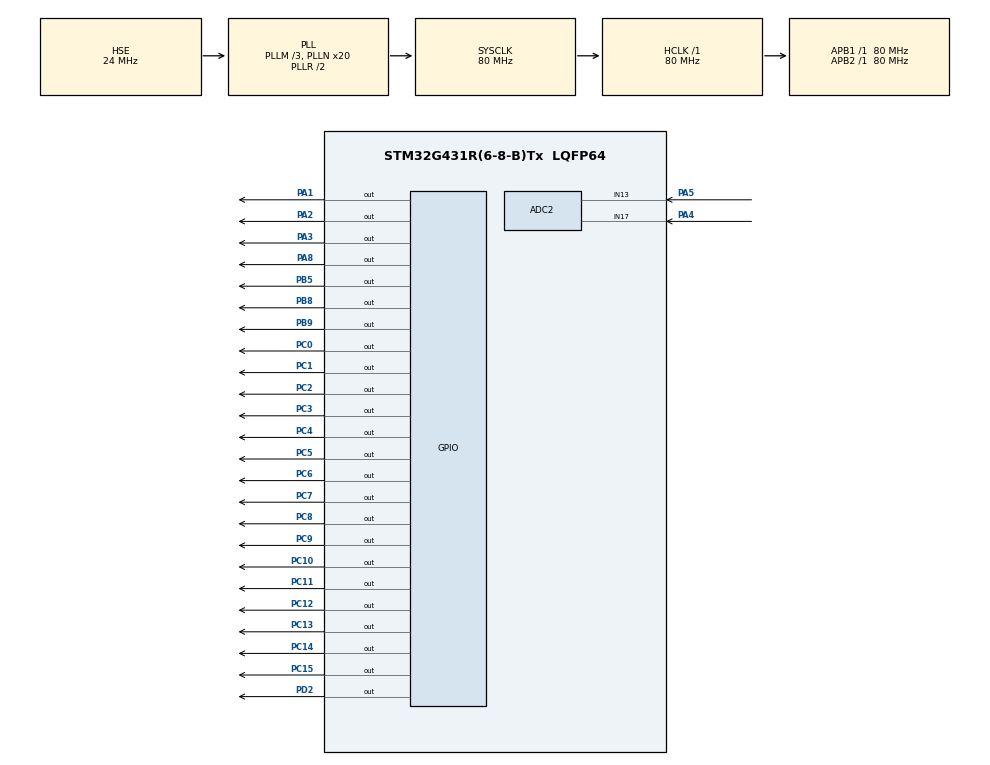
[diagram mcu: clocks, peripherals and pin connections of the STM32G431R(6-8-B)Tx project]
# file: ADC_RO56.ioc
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ADC2.Channel-1\#ChannelRegularConversion=ADC_CHANNEL_17
ADC2.Channel-2\#ChannelRegularConversion=ADC_CHANNEL_13
ADC2.NbrOfConversion=2
ADC2.NbrOfConversionFlag=1
ADC2.OffsetNumber-1\#ChannelRegularConversion=ADC_OFFSET_NONE
ADC2.OffsetNumber-2\#ChannelRegularConversion=ADC_OFFSET_NONE
ADC2.Rank-1\#ChannelRegularConversion=1
ADC2.Rank-2\#ChannelRegularConversion=2
ADC2.SamplingTime-1\#ChannelRegularConversion=ADC_SAMPLETIME_640CYCLES_5
ADC2.SamplingTime-2\#ChannelRegularConversion=ADC_SAMPLETIME_640CYCLES_5
Mcu.Family=STM32G4
Mcu.Name=STM32G431R(6-8-B)Tx
Mcu.Package=LQFP64
NVIC.PriorityGroup=NVIC_PRIORITYGROUP_4
PA1.Signal=GPIO_Output
PA13.Mode=Serial_Wire
PA13.Signal=SYS_JTMS-SWDIO
PA14.Mode=Serial_Wire
PA14.Signal=SYS_JTCK-SWCLK
PA2.Signal=GPIO_Output
PA3.Signal=GPIO_Output
PA4.Mode=IN17-Single-Ended
PA4.Signal=ADC2_IN17
PA5.Mode=IN13-Single-Ended
PA5.Signal=ADC2_IN13
PA8.Signal=GPIO_Output
PB5.Signal=GPIO_Output
PB8-BOOT0.Signal=GPIO_Output
PB9.Signal=GPIO_Output
PC0.Signal=GPIO_Output
PC1.Signal=GPIO_Output
PC10.PinState=GPIO_PIN_SET
PC10.Signal=GPIO_Output
PC11.PinState=GPIO_PIN_SET
PC11.Signal=GPIO_Output
PC12.PinState=GPIO_PIN_SET
PC12.Signal=GPIO_Output
PC13.PinState=GPIO_PIN_SET
PC13.Signal=GPIO_Output
PC14-OSC32_IN.PinState=GPIO_PIN_SET
PC14-OSC32_IN.Signal=GPIO_Output
PC15-OSC32_OUT.PinState=GPIO_PIN_SET
PC15-OSC32_OUT.Signal=GPIO_Output
PC2.Signal=GPIO_Output
PC3.Signal=GPIO_Output
PC4.Signal=GPIO_Output
PC5.Signal=GPIO_Output
PC6.Signal=GPIO_Output
PC7.Signal=GPIO_Output
PC8.PinState=GPIO_PIN_SET
PC8.Signal=GPIO_Output
PC9.PinState=GPIO_PIN_SET
PC9.Signal=GPIO_Output
PD2.Signal=GPIO_Output
PF0-OSC_IN.Mode=HSE-External-Oscillator
PF0-OSC_IN.Signal=RCC_OSC_IN
PF1-OSC_OUT.Mode=HSE-External-Oscillator
PF1-OSC_OUT.Signal=RCC_OSC_OUT
ProjectManager.HeapSize=0x200
ProjectManager.StackSize=0x400
ProjectManager.TargetToolchain=MDK-ARM V5.32
RCC.ADC12Freq_Value=80000000
RCC.AHBFreq_Value=80000000
RCC.APB1Freq_Value=80000000
RCC.APB1TimFreq_Value=80000000
RCC.APB2Freq_Value=80000000
RCC.APB2TimFreq_Value=80000000
RCC.CortexFreq_Value=80000000
RCC.EXTERNAL_CLOCK_VALUE=12288000
RCC.HCLKFreq_Value=80000000
RCC.HSE_VALUE=24000000
RCC.HSI48_VALUE=48000000
RCC.HSI_VALUE=16000000
RCC.LSE_VALUE=32768
RCC.PLLM=RCC_PLLM_DIV3
RCC.PLLN=20
RCC.PLLSourceVirtual=RCC_PLLSOURCE_HSE
RCC.SYSCLKFreq_VALUE=80000000
RCC.SYSCLKSource=RCC_SYSCLKSOURCE_PLLCLK
RCC.USBFreq_Value=80000000
RCC.VCOOutputFreq_Value=160000000
VP_SYS_VS_DBSignals.Mode=DisableDeadBatterySignals
board=custom

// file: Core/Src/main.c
/* USER CODE BEGIN Header */
/**
  ******************************************************************************
  * @file           : main.c
  * @brief          : Main program body
  ******************************************************************************
  * @attention
  *
  * Copyright (c) 2024 STMicroelectronics.
  * All rights reserved.
  *
  * This software is licensed under terms that can be found in the LICENSE file
  * in the root directory of this software component.
  * If no LICENSE file comes with this software, it is provided AS-IS.
  *
  ******************************************************************************
  */
/* USER CODE END Header */
#include "main.h"
#include "adc.h"
#include "gpio.h"

/* USER CODE BEGIN Includes */

#include "lcd.h"
#include "seg.h"
#include "led.h"
#include "myadc.h"
#include "stdio.h"
#include "String.h"

/* USER CODE END Includes */

/* USER CODE BEGIN PTD */
__IO uint32_t uwTick_Seg;
__IO uint32_t uwTick_Lcd;
__IO uint32_t uwTick_Adc;

double RP5_AO1=0;
double RP6_AO2=0;

//Lcd要显示的数据
unsigned char lcd_text[30];

unsigned int seg_count;

/* USER CODE END PTD */

void SystemClock_Config(void);
/* USER CODE BEGIN PFP */
void seg_proc(void);
void adc_proc(void);
void lcd_proc(void);

/* USER CODE END PFP */

/* USER CODE BEGIN 0 */

//扩展板中两路ADC采集

/* USER CODE END 0 */

int main(void)
{

  /* MCU Configuration--------------------------------------------------------*/

  /* Reset of all peripherals, Initializes the Flash interface and the Systick. */
  HAL_Init();

  /* Configure the system clock */
  SystemClock_Config();

  /* Initialize all configured peripherals */
  MX_GPIO_Init();
  MX_ADC2_Init();
  /* USER CODE BEGIN 2 */

    led_disp(0x00);

    LCD_Init();
    LCD_Clear(Black);
    LCD_SetBackColor(Black);
    LCD_SetTextColor(White);

  /* USER CODE END 2 */

  /* Infinite loop */
  while (1)
  {

    /* USER CODE BEGIN 3 */
      seg_proc();
      adc_proc();
      lcd_proc();
  }
  /* USER CODE END 3 */
}

void SystemClock_Config(void)
{
  RCC_OscInitTypeDef RCC_OscInitStruct = {0};
  RCC_ClkInitTypeDef RCC_ClkInitStruct = {0};

  /** Configure the main internal regulator output voltage
  */
  HAL_PWREx_ControlVoltageScaling(PWR_REGULATOR_VOLTAGE_SCALE1);

  /** Initializes the RCC Oscillators according to the specified parameters
  * in the RCC_OscInitTypeDef structure.
  */
  RCC_OscInitStruct.OscillatorType = RCC_OSCILLATORTYPE_HSE;
  RCC_OscInitStruct.HSEState = RCC_HSE_ON;
  RCC_OscInitStruct.PLL.PLLState = RCC_PLL_ON;
  RCC_OscInitStruct.PLL.PLLSource = RCC_PLLSOURCE_HSE;
  RCC_OscInitStruct.PLL.PLLM = RCC_PLLM_DIV3;
  RCC_OscInitStruct.PLL.PLLN = 20;
  RCC_OscInitStruct.PLL.PLLP = RCC_PLLP_DIV2;
  RCC_OscInitStruct.PLL.PLLQ = RCC_PLLQ_DIV2;
  RCC_OscInitStruct.PLL.PLLR = RCC_PLLR_DIV2;
  if (HAL_RCC_OscConfig(&RCC_OscInitStruct) != HAL_OK)
  {
    Error_Handler();
  }

  /** Initializes the CPU, AHB and APB buses clocks
  */
  RCC_ClkInitStruct.ClockType = RCC_CLOCKTYPE_HCLK|RCC_CLOCKTYPE_SYSCLK
                              |RCC_CLOCKTYPE_PCLK1|RCC_CLOCKTYPE_PCLK2;
  RCC_ClkInitStruct.SYSCLKSource = RCC_SYSCLKSOURCE_PLLCLK;
  RCC_ClkInitStruct.AHBCLKDivider = RCC_SYSCLK_DIV1;
  RCC_ClkInitStruct.APB1CLKDivider = RCC_HCLK_DIV1;
  RCC_ClkInitStruct.APB2CLKDivider = RCC_HCLK_DIV1;

  if (HAL_RCC_ClockConfig(&RCC_ClkInitStruct, FLASH_LATENCY_2) != HAL_OK)
  {
    Error_Handler();
  }
}

/* USER CODE BEGIN 4 */

void seg_proc(void)
{

    if((uwTick-uwTick_Seg)<200)return;
    uwTick_Seg=uwTick;

    seg_count++;

    if(seg_count==1000)seg_count=0;

    seg_buf[0]=seg_count/100;
    seg_buf[1]=seg_count/10%10;
    seg_buf[2]=seg_count%10;
}

void adc_proc(void)
{
    if((uwTick-uwTick_Adc)<100)return;
    uwTick_Adc=uwTick;

    //读取RANK1的电压
    RP5_AO1=getADC(&hadc2);
    //读取RANK2的电压
    RP6_AO2=getADC(&hadc2);

}

void lcd_proc(void)
{
    if((uwTick-uwTick_Lcd)<100)return;
    uwTick_Lcd=uwTick;

    memset(lcd_text,0,sizeof(lcd_text));
    sprintf((char *)lcd_text,"  RANK1_RP5_AO1:%0.2f",RP5_AO1);
    LCD_DisplayStringLine(Line3,lcd_text);

    memset(lcd_text,0,sizeof(lcd_text));
    sprintf((char *)lcd_text,"  RANK2_RP6_AO2:%0.2f",RP6_AO2);
    LCD_DisplayStringLine(Line7,lcd_text);

}

/* USER CODE END 4 */

void Error_Handler(void)
{
  __disable_irq();
  while (1)
  {
  }
}
